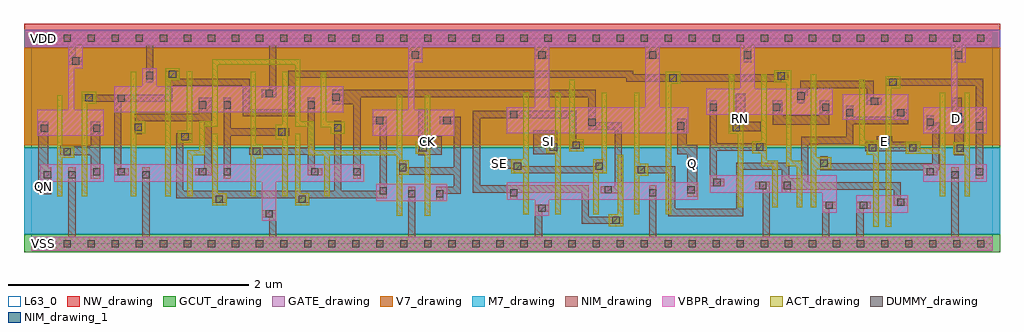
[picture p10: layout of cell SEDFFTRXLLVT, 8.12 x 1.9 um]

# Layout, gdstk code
import gdstk
lib = gdstk.Library(unit=1e-6, precision=5e-10)
def R(c, l, rs):  # rectangles x0, y0, x1, y1
    for r in rs: c.add(gdstk.rectangle(r[:2], r[2:], *l))
def A(c, l, x, y, w, h, nx, ny, dx, dy):  # array of equal rectangles
    R(c, l, [(x+i*dx, y+j*dy, x+i*dx+w, y+j*dy+h) for i in range(nx) for j in range(ny)])
def P(c, l, *ps):  # polygons
    for p in ps: c.add(gdstk.Polygon(p, *l))
VBPR_drawing = (1, 0)
NW_drawing = (2, 0)
ACT_drawing = (3, 0)
GATE_drawing = (4, 0)
GCUT_drawing = (5, 0)
DUMMY_drawing = (6, 0)
NIM_drawing = (7, 0)
NIM_drawing_1 = (7, 1)
M7_drawing = (26, 0)
V7_drawing = (27, 0)
L63_0 = (63, 0)

sedfftrxllvt = lib.new_cell('SEDFFTRXLLVT')
R(sedfftrxllvt, VBPR_drawing, [(0,-0.06,8,0.06), (6.865,0.26,7.295,0.405), (2.87,0.355,3.46,0.5), (0.075,0.515,0.605,0.66), (7.42,0.515,7.95,0.66), (6.75,1.03,7.295,1.245), (0,1.65,8,1.77)])
P(sedfftrxllvt, VBPR_drawing, [(7.95,1.135),(7.705,1.135),(7.705,1.51),(7.775,1.51),(7.775,1.65),(7.655,1.65),(7.655,1.135),(7.42,1.135),(7.42,0.92),(7.95,0.92)],
  [(0.925,1.46),(1.045,1.46),(1.045,1.31),(2.595,1.31),(2.595,1.095),(0.69,1.095),(0.69,1.31),(0.925,1.31)],
  [(0.69,0.66),(2.77,0.66),(2.77,0.515),(2.04,0.515),(2.04,0.19),(1.92,0.19),(1.92,0.515),(0.69,0.515)],
  [(3.955,0.51),(5.55,0.51),(5.55,0.365),(4.31,0.365),(4.31,0.235),(4.19,0.235),(4.19,0.365),(3.955,0.365)],
  [(5.645,0.57),(6.7,0.57),(6.7,0.26),(6.58,0.26),(6.58,0.425),(5.645,0.425)],
  [(6.67,1.29),(6.02,1.29),(6.02,1.65),(5.9,1.65),(5.9,1.29),(5.615,1.29),(5.615,1.075),(6.67,1.075)],
  [(5.465,1.135),(5.23,1.135),(5.23,1.65),(5.11,1.65),(5.11,1.135),(4.31,1.135),(4.31,1.65),(4.19,1.65),(4.19,1.135),(3.955,1.135),(3.955,0.92),(5.465,0.92)],
  [(3.52,1.115),(3.185,1.115),(3.185,1.51),(3.255,1.51),(3.255,1.65),(3.135,1.65),(3.135,1.115),(2.84,1.115),(2.84,0.9),(3.52,0.9)],
  [(0.605,1.115),(0.36,1.115),(0.36,1.46),(0.43,1.46),(0.43,1.65),(0.31,1.65),(0.31,1.115),(0.05,1.115),(0.05,0.9),(0.605,0.9)])
R(sedfftrxllvt, NW_drawing, [(-0.06,0.82,8.06,1.83)])
P(sedfftrxllvt, ACT_drawing, [(1.505,1.535),(2.24,1.535),(2.24,1.02),(2.35,1.02),(2.35,0.78),(3.04,0.78),(3.04,1.235),(3.085,1.235),(3.085,0.695),(3.14,0.695),(3.14,0.575),(3.085,0.575),(3.085,0.235),(3.04,0.235),(3.04,0.735),(2.485,0.735),(2.485,0.395),(2.44,0.395),(2.44,0.735),(2.305,0.735),(2.305,0.975),(2.195,0.975),(2.195,1.49),(1.55,1.49),(1.55,0.975),(1.445,0.975),(1.445,0.735),(1.345,0.735),(1.345,0.395),(1.3,0.395),(1.3,0.78),(1.4,0.78),(1.4,1.02),(1.505,1.02)],
  [(1.115,1.46),(1.235,1.46),(1.235,1.36),(1.16,1.36),(1.16,0.395),(1.115,0.395)],
  [(0.215,1.235),(0.26,1.235),(0.26,0.815),(0.36,0.815),(0.36,0.715),(0.26,0.715),(0.26,0.395),(0.215,0.395)],
  [(0.42,1.265),(0.54,1.265),(0.54,1.165),(0.465,1.165),(0.465,0.395),(0.42,0.395)],
  [(0.83,1.43),(0.875,1.43),(0.875,1.02),(0.95,1.02),(0.95,0.92),(0.875,0.92),(0.875,0.395),(0.83,0.395)],
  [(1.295,1.435),(1.34,1.435),(1.34,0.84),(1.22,0.84),(1.22,0.94),(1.295,0.94)],
  [(1.825,1.43),(1.87,1.43),(1.87,0.83),(1.925,0.83),(1.925,0.71),(1.87,0.71),(1.87,0.395),(1.825,0.395)],
  [(2.09,1.43),(2.135,1.43),(2.135,0.395),(2.09,0.395),(2.09,0.87),(2.035,0.87),(2.035,0.99),(2.09,0.99)],
  [(2.41,1.43),(2.455,1.43),(2.455,1.015),(2.61,1.015),(2.61,0.915),(2.49,0.915),(2.49,0.97),(2.41,0.97)],
  [(3.275,1.235),(3.32,1.235),(3.32,0.235),(3.275,0.235),(3.275,0.75),(3.2,0.75),(3.2,0.85),(3.275,0.85)],
  [(4.095,1.255),(4.14,1.255),(4.14,0.245),(4.095,0.245),(4.095,0.585),(3.995,0.585),(3.995,0.705),(4.095,0.705)],
  [(4.36,1.255),(4.405,1.255),(4.405,0.245),(4.36,0.245),(4.36,0.755),(4.285,0.755),(4.285,0.855),(4.36,0.855)],
  [(4.475,1.365),(4.52,1.365),(4.52,0.87),(4.595,0.87),(4.595,0.77),(4.475,0.77)],
  [(4.745,1.255),(4.79,1.255),(4.79,0.585),(4.72,0.585),(4.72,0.245),(4.675,0.245),(4.675,0.705),(4.745,0.705)],
  [(5.015,1.255),(5.06,1.255),(5.06,0.665),(5.135,0.665),(5.135,0.565),(5.06,0.565),(5.06,0.245),(5.015,0.245)],
  [(5.28,1.43),(5.4,1.43),(5.4,1.33),(5.325,1.33),(5.325,0.245),(5.28,0.245)],
  [(5.805,1.41),(5.85,1.41),(5.85,1.015),(5.925,1.015),(5.925,0.305),(5.88,0.305),(5.88,0.915),(5.805,0.915)],
  [(6.18,1.445),(6.325,1.445),(6.325,0.69),(6.415,0.69),(6.415,0.305),(6.37,0.305),(6.37,0.645),(6.28,0.645),(6.28,1.345),(6.18,1.345)],
  [(6.075,1.41),(6.12,1.41),(6.12,0.69),(6.21,0.69),(6.21,0.305),(6.165,0.305),(6.165,0.645),(6.075,0.645),(6.075,0.755),(6,0.755),(6,0.855),(6.075,0.855)],
  [(7.11,1.395),(7.23,1.395),(7.23,1.295),(7.155,1.295),(7.155,0.14),(7.11,0.14)],
  [(6.485,1.41),(6.53,1.41),(6.53,0.72),(6.655,0.72),(6.655,0.62),(6.53,0.62),(6.53,0.305),(6.485,0.305)],
  [(6.89,1.365),(6.935,1.365),(6.935,0.86),(7.05,0.86),(7.05,0.14),(7.005,0.14),(7.005,0.74),(6.95,0.74),(6.95,0.815),(6.89,0.815)],
  [(7.275,0.85),(7.395,0.85),(7.395,0.795),(7.56,0.795),(7.56,1.255),(7.605,1.255),(7.605,0.395),(7.56,0.395),(7.56,0.75),(7.275,0.75)],
  [(7.765,1.255),(7.81,1.255),(7.81,0.395),(7.765,0.395),(7.765,0.745),(7.67,0.745),(7.67,0.845),(7.765,0.845)],
  [(1.505,0.915),(1.55,0.915),(1.55,0.42),(1.625,0.42),(1.625,0.32),(1.505,0.32)],
  [(2.195,0.915),(2.24,0.915),(2.24,0.42),(2.315,0.42),(2.315,0.32),(2.195,0.32)],
  [(4.88,0.74),(4.925,0.74),(4.925,0.145),(4.805,0.145),(4.805,0.245),(4.88,0.245)])
R(sedfftrxllvt, GATE_drawing, [(-0.06,0.08,8.06,0.8), (-0.06,1.63,8.06,1.78)])
R(sedfftrxllvt, GCUT_drawing, [(-0.06,-0.07,8.06,0.08), (-0.06,0.8,8.06,1.63)])
A(sedfftrxllvt, DUMMY_drawing, 0.07, -0.03, 0.06, 0.06, 40, 2, 0.2, 1.71)
R(sedfftrxllvt, DUMMY_drawing, [(4.835,0.165,4.895,0.225), (1.95,0.22,2.01,0.28), (4.22,0.265,4.28,0.325), (6.61,0.29,6.67,0.35), (6.895,0.29,6.955,0.35), (7.205,0.315,7.265,0.375), (1.535,0.34,1.595,0.4), (2.225,0.34,2.285,0.4), (3.135,0.385,3.195,0.445), (3.37,0.385,3.43,0.445), (3.985,0.395,4.045,0.455), (5.14,0.395,5.2,0.455), (2.9,0.41,2.96,0.47), (4.77,0.42,4.83,0.48), (5.46,0.42,5.52,0.48), (6.055,0.455,6.115,0.515), (6.26,0.455,6.32,0.515), (5.675,0.48,5.735,0.54), (0.105,0.545,0.165,0.605), (0.31,0.545,0.37,0.605), (0.925,0.545,0.985,0.605), (7.655,0.545,7.715,0.605), (0.515,0.57,0.575,0.63), (0.72,0.57,0.78,0.63), (1.395,0.57,1.455,0.63), (1.6,0.57,1.66,0.63), (2.33,0.57,2.39,0.63), (2.68,0.57,2.74,0.63), (7.45,0.57,7.51,0.63), (7.86,0.57,7.92,0.63), (5.045,0.585,5.105,0.645), (3.06,0.605,3.12,0.665), (4.015,0.615,4.075,0.675), (4.695,0.615,4.755,0.675), (6.565,0.64,6.625,0.7), (0.27,0.735,0.33,0.795), (1.845,0.74,1.905,0.8), (7.7,0.765,7.76,0.825), (3.23,0.77,3.29,0.83), (6.97,0.77,7.03,0.83), (7.305,0.77,7.365,0.83), (4.315,0.775,4.375,0.835), (6.03,0.775,6.09,0.835), (4.505,0.79,4.565,0.85), (1.25,0.86,1.31,0.92), (2.055,0.9,2.115,0.96), (0.08,0.93,0.14,0.99), (0.515,0.93,0.575,0.99), (2.52,0.935,2.58,0.995), (5.835,0.935,5.895,0.995), (0.86,0.94,0.92,1), (5.375,0.95,5.435,1.01), (7.86,0.95,7.92,1.01), (4.635,0.98,4.695,1.04), (7.45,0.98,7.51,1.04), (2.87,0.995,2.93,1.055), (3.43,0.995,3.49,1.055), (3.985,1.045,4.045,1.105), (6.78,1.06,6.84,1.12), (7.205,1.06,7.265,1.12), (5.645,1.105,5.705,1.165), (6.17,1.105,6.23,1.165), (6.58,1.105,6.64,1.165), (1.395,1.125,1.455,1.185), (1.6,1.125,1.66,1.185), (2.3,1.125,2.36,1.185), (6.985,1.155,7.045,1.215), (0.72,1.18,0.78,1.24), (0.45,1.185,0.51,1.245), (2.505,1.19,2.565,1.25), (6.375,1.2,6.435,1.26), (1.95,1.22,2.01,1.28), (7.14,1.315,7.2,1.375), (5.31,1.35,5.37,1.41), (6.21,1.365,6.27,1.425), (0.955,1.37,1.015,1.43), (1.145,1.38,1.205,1.44), (0.34,1.49,0.4,1.55), (3.165,1.54,3.225,1.6), (4.22,1.54,4.28,1.6), (5.14,1.54,5.2,1.6), (5.93,1.54,5.99,1.6), (7.685,1.54,7.745,1.6)])
R(sedfftrxllvt, NIM_drawing, [(0.31,0.06,0.37,0.635), (0.925,0.06,0.985,0.635), (3.135,0.06,3.195,0.475), (5.14,0.06,5.2,0.485), (7.655,0.06,7.715,0.635), (4.175,0.745,4.375,0.945), (0.955,1.34,1.015,1.65), (5.93,1.51,5.99,1.65), (7.685,1.51,7.745,1.65), (3.135,1.54,3.255,1.65), (4.19,1.54,4.31,1.65), (5.11,1.54,5.23,1.65)])
P(sedfftrxllvt, NIM_drawing, [(0.43,1.55),(0.37,1.55),(0.37,1.65),(0.31,1.65),(0.31,1.49),(0.43,1.49)],
  [(2.04,1.65),(1.98,1.65),(1.98,1.28),(1.92,1.28),(1.92,1.22),(2.04,1.22)],
  [(2.04,0.28),(1.92,0.28),(1.92,0.22),(1.98,0.22),(1.98,0.06),(2.04,0.06)],
  [(4.31,0.325),(4.19,0.325),(4.19,0.06),(4.25,0.06),(4.25,0.265),(4.31,0.265)],
  [(6.145,0.515),(6.025,0.515),(6.025,0.455),(6.085,0.455),(6.085,0.06),(6.145,0.06)],
  [(6.7,0.35),(6.58,0.35),(6.58,0.06),(6.64,0.06),(6.64,0.29),(6.7,0.29)],
  [(6.985,0.35),(6.865,0.35),(6.865,0.06),(6.925,0.06),(6.925,0.29),(6.985,0.29)],
  [(1.115,1.44),(1.235,1.44),(1.235,1.375),(1.82,1.375),(1.82,1.12),(2.14,1.12),(2.14,1.44),(5.01,1.44),(5.01,1.41),(6.18,1.41),(6.18,1.425),(6.3,1.425),(6.3,1.365),(6.24,1.365),(6.24,1.35),(4.95,1.35),(4.95,1.38),(2.2,1.38),(2.2,1.06),(1.76,1.06),(1.76,1.315),(1.175,1.315),(1.175,1.18),(0.75,1.18),(0.75,0.63),(0.81,0.63),(0.81,0.57),(0.69,0.57),(0.69,1.18),(0.48,1.18),(0.48,1.185),(0.42,1.185),(0.42,1.245),(0.54,1.245),(0.54,1.24),(1.115,1.24)],
  [(1.395,1.215),(1.5,1.215),(1.5,0.57),(1.365,0.57),(1.365,0.63),(1.44,0.63),(1.44,1.02),(0.92,1.02),(0.92,0.91),(0.86,0.91),(0.86,1.08),(1.395,1.08)],
  [(0.06,1.02),(0.14,1.02),(0.14,0.635),(0.165,0.635),(0.165,0.41),(0.06,0.41)],
  [(0.495,1.02),(0.575,1.02),(0.575,0.54),(0.495,0.54),(0.495,0.735),(0.24,0.735),(0.24,0.815),(0.495,0.815)],
  [(1.205,0.92),(1.34,0.92),(1.34,0.86),(1.265,0.86),(1.265,0.44),(2.52,0.44),(2.52,1.025),(2.58,1.025),(2.58,0.44),(2.9,0.44),(2.9,0.995),(2.84,0.995),(2.84,1.055),(2.96,1.055),(2.96,0.38),(2.315,0.38),(2.315,0.34),(2.195,0.34),(2.195,0.38),(1.625,0.38),(1.625,0.34),(1.505,0.34),(1.505,0.38),(1.205,0.38)],
  [(1.6,1.215),(1.66,1.215),(1.66,0.96),(2.145,0.96),(2.145,0.9),(1.66,0.9),(1.66,0.54),(1.6,0.54)],
  [(6.4,1.355),(7.01,1.355),(7.01,1.215),(7.075,1.215),(7.075,1.155),(6.95,1.155),(6.95,1.295),(6.46,1.295),(6.46,1.235),(6.435,1.235),(6.435,1.17),(6.375,1.17),(6.375,1.29),(6.4,1.29)],
  [(7.11,1.375),(7.92,1.375),(7.92,0.54),(7.86,0.54),(7.86,1.315),(7.11,1.315)],
  [(2.3,1.215),(2.36,1.215),(2.36,0.63),(2.42,0.63),(2.42,0.57),(2.3,0.57),(2.3,0.74),(1.815,0.74),(1.815,0.8),(2.3,0.8)],
  [(2.505,1.28),(4.695,1.28),(4.695,1.01),(4.915,1.01),(4.915,0.42),(4.74,0.42),(4.74,0.48),(4.855,0.48),(4.855,0.95),(4.635,0.95),(4.635,1.22),(2.74,1.22),(2.74,0.54),(2.68,0.54),(2.68,1.16),(2.505,1.16)],
  [(5.645,1.195),(5.705,1.195),(5.705,0.835),(6.12,0.835),(6.12,0.775),(5.705,0.775),(5.705,0.54),(5.765,0.54),(5.765,0.48),(5.645,0.48)],
  [(3.4,1.055),(3.575,1.055),(3.575,0.415),(3.43,0.415),(3.43,0.355),(3.37,0.355),(3.37,0.475),(3.515,0.475),(3.515,0.575),(3.06,0.575),(3.06,0.695),(3.12,0.695),(3.12,0.635),(3.515,0.635),(3.515,0.995),(3.4,0.995)],
  [(3.675,1.105),(4.535,1.105),(4.535,0.85),(4.595,0.85),(4.595,0.79),(4.475,0.79),(4.475,1.045),(3.735,1.045),(3.735,0.485),(4.64,0.485),(4.64,0.225),(4.925,0.225),(4.925,0.165),(4.58,0.165),(4.58,0.425),(4.045,0.425),(4.045,0.365),(3.985,0.365),(3.985,0.425),(3.675,0.425)],
  [(5.375,1.04),(5.455,1.04),(5.455,0.825),(5.54,0.825),(5.54,0.39),(5.46,0.39),(5.46,0.745),(5.375,0.745)],
  [(3.22,1.12),(3.3,1.12),(3.3,0.895),(3.415,0.895),(3.415,0.74),(3.3,0.74),(3.3,0.735),(3.22,0.735)],
  [(3.835,0.705),(4.075,0.705),(4.075,0.645),(4.695,0.645),(4.695,0.705),(4.755,0.705),(4.755,0.585),(4.015,0.585),(4.015,0.625),(3.835,0.625)],
  [(6.17,1.195),(6.25,1.195),(6.25,1.07),(6.56,1.07),(6.56,1.195),(6.64,1.195),(6.64,0.99),(6.17,0.99)],
  [(6.78,1.15),(6.84,1.15),(6.84,1.055),(7.175,1.055),(7.175,1.12),(7.295,1.12),(7.295,0.995),(6.84,0.995),(6.84,0.83),(6.465,0.83),(6.465,0.51),(7.235,0.51),(7.235,0.375),(7.295,0.375),(7.295,0.315),(7.175,0.315),(7.175,0.45),(6.32,0.45),(6.32,0.425),(6.245,0.425),(6.245,0.615),(5.925,0.615),(5.925,0.23),(5.3,0.23),(5.3,0.585),(5.015,0.585),(5.015,0.645),(5.36,0.645),(5.36,0.29),(5.865,0.29),(5.865,0.675),(6.305,0.675),(6.305,0.545),(6.405,0.545),(6.405,0.89),(6.78,0.89)],
  [(5.86,1.25),(5.94,1.25),(5.94,1.015),(6.07,1.015),(6.07,0.935),(5.805,0.935),(5.805,1.015),(5.86,1.015)],
  [(7.45,1.07),(7.51,1.07),(7.51,1.01),(7.555,1.01),(7.555,0.61),(7.54,0.61),(7.54,0.57),(7.42,0.57),(7.42,0.61),(6.565,0.61),(6.565,0.73),(6.625,0.73),(6.625,0.67),(7.495,0.67),(7.495,0.95),(7.45,0.95)],
  [(7.035,0.895),(7.165,0.895),(7.165,0.85),(7.395,0.85),(7.395,0.77),(6.94,0.77),(6.94,0.85),(7.035,0.85)],
  [(7.66,1.215),(7.74,1.215),(7.74,1.06),(7.76,1.06),(7.76,0.735),(7.68,0.735),(7.68,0.98),(7.66,0.98)])
R(sedfftrxllvt, NIM_drawing_1, [(0.06,-0.04,0.14,0.04), (0.06,0.435,0.14,0.515), (3.86,0.625,3.94,0.705), (5.46,0.625,5.54,0.705), (3.26,0.815,3.34,0.895), (4.26,0.815,4.34,0.895), (7.06,0.815,7.14,0.895), (5.86,1.005,5.94,1.085), (7.66,1.005,7.74,1.085), (0.06,1.67,0.14,1.75)])
R(sedfftrxllvt, M7_drawing, [(-0.06,0.08,8.06,0.8)])
R(sedfftrxllvt, V7_drawing, [(-0.06,0.82,8.06,1.63)])
R(sedfftrxllvt, L63_0, [(0,0,8,1.71)])
sedfftrxllvt.add(gdstk.FlexPath([(0,0),(8,0)], 0.12, ends="flush", simple_path=True, layer=7, datatype=0))  # NIM_drawing
sedfftrxllvt.add(gdstk.FlexPath([(0,1.71),(8,1.71)], 0.12, ends="flush", simple_path=True, layer=7, datatype=0))  # NIM_drawing
sedfftrxllvt.add(gdstk.Label('Q', (5.5,0.665), layer=7, texttype=1))
sedfftrxllvt.add(gdstk.Label('QN', (0.1,0.475), layer=7, texttype=1))
sedfftrxllvt.add(gdstk.Label('D', (7.7,1.045), layer=7, texttype=1))
sedfftrxllvt.add(gdstk.Label('E', (7.1,0.855), layer=7, texttype=1))
sedfftrxllvt.add(gdstk.Label('RN', (5.9,1.045), layer=7, texttype=1))
sedfftrxllvt.add(gdstk.Label('SI', (4.3,0.855), layer=7, texttype=1))
sedfftrxllvt.add(gdstk.Label('SE', (3.9,0.665), layer=7, texttype=1))
sedfftrxllvt.add(gdstk.Label('CK', (3.3,0.855), layer=7, texttype=1))
sedfftrxllvt.add(gdstk.Label('VDD', (0.1,1.71), layer=7, texttype=1))
sedfftrxllvt.add(gdstk.Label('VSS', (0.1,0), layer=7, texttype=1))
sedfftrxllvt.add(gdstk.Label('VSS', (0.1,0), layer=7, texttype=1))
sedfftrxllvt.add(gdstk.Label('VDD', (0.1,1.71), layer=7, texttype=1))
sedfftrxllvt.add(gdstk.Label('CK', (3.3,0.855), layer=7, texttype=1))
sedfftrxllvt.add(gdstk.Label('SE', (3.9,0.665), layer=7, texttype=1))
sedfftrxllvt.add(gdstk.Label('SI', (4.3,0.855), layer=7, texttype=1))
sedfftrxllvt.add(gdstk.Label('RN', (5.9,1.045), layer=7, texttype=1))
sedfftrxllvt.add(gdstk.Label('E', (7.1,0.855), layer=7, texttype=1))
sedfftrxllvt.add(gdstk.Label('D', (7.7,1.045), layer=7, texttype=1))
sedfftrxllvt.add(gdstk.Label('QN', (0.1,0.475), layer=7, texttype=1))
sedfftrxllvt.add(gdstk.Label('Q', (5.5,0.665), layer=7, texttype=1))
sedfftrxllvt.add(gdstk.Label('SEDFFTRXL', (0,0), layer=63, texttype=0))

lib.write_gds('SEDFFTRXLLVT.gds')
